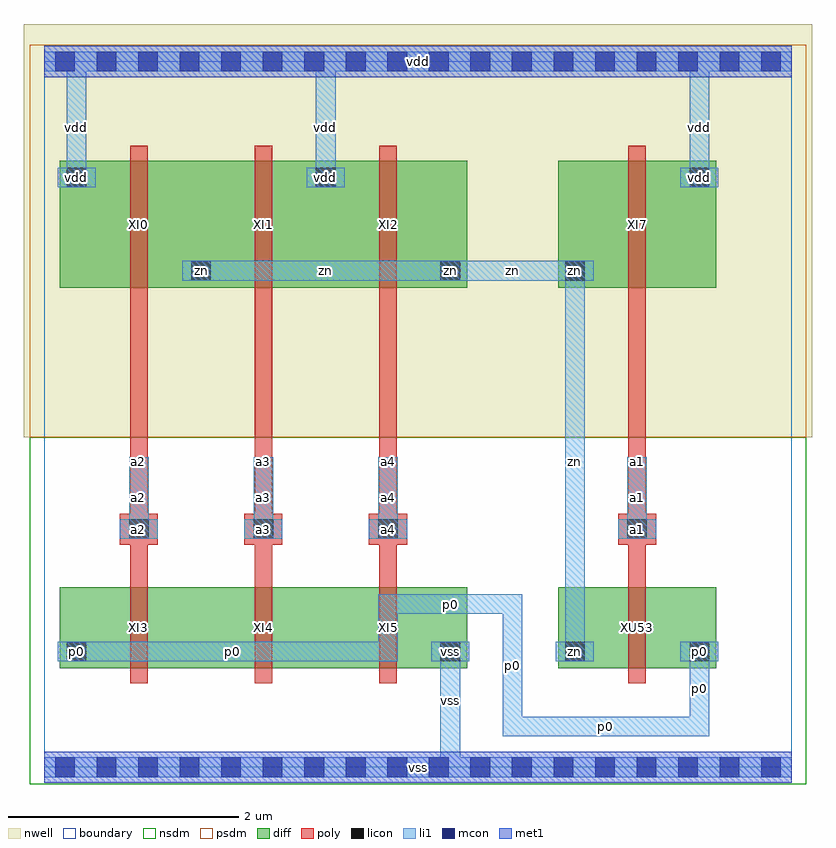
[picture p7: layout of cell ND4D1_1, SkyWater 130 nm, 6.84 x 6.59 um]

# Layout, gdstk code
import gdstk
lib = gdstk.Library(unit=1e-6, precision=1e-09)
def R(c, l, rs):  # rectangles x0, y0, x1, y1
    for r in rs: c.add(gdstk.rectangle(r[:2], r[2:], *l))
def A(c, l, x, y, w, h, nx, ny, dx, dy):  # array of equal rectangles
    R(c, l, [(x+i*dx, y+j*dy, x+i*dx+w, y+j*dy+h) for i in range(nx) for j in range(ny)])
L0_0 = (0, 0)
nwell = (64, 20)
diff = (65, 20)
poly = (66, 20)
licon = (66, 44)
li1 = (67, 20)
mcon = (67, 44)
met1 = (68, 20)
nsdm = (93, 44)
psdm = (94, 20)
boundary = (235, 4)

nd4d1_1 = lib.new_cell('ND4D1_1')
R(nd4d1_1, nwell, [(-0.18,2.86,6.66,6.445)])
A(nd4d1_1, diff, 0.135, 0.86, 1.37, 0.7, 3, 1, 1.08, 0)
A(nd4d1_1, diff, 3.375, 0.86, 0.29, 0.29, 3, 1, 1.08, 0)
A(nd4d1_1, diff, 0.135, 4.16, 1.37, 1.1, 3, 1, 1.08, 0)
R(nd4d1_1, diff, [(0.135,0.86,0.425,1.15), (4.455,0.86,5.825,1.56), (1.215,4.16,1.505,4.45), (3.375,4.16,3.665,4.45), (4.455,4.16,5.825,5.26), (4.455,4.16,4.745,4.45), (0.135,4.97,0.425,5.26), (2.295,4.97,2.585,5.26), (5.535,4.97,5.825,5.26)])
A(nd4d1_1, poly, 0.745, 0.73, 0.15, 0.96, 3, 1, 1.08, 0)
A(nd4d1_1, poly, 0.745, 0.93, 0.15, 3.45, 3, 1, 1.08, 0)
A(nd4d1_1, poly, 0.655, 1.93, 0.33, 0.27, 3, 1, 1.08, 0)
A(nd4d1_1, poly, 0.745, 4.03, 0.15, 1.36, 3, 1, 1.08, 0)
R(nd4d1_1, poly, [(5.065,0.73,5.215,1.69), (5.065,0.93,5.215,4.38), (4.975,1.93,5.305,2.2), (5.065,4.03,5.215,5.39)])
A(nd4d1_1, licon, 3.435, 0.92, 0.17, 0.17, 3, 1, 1.08, 0)
A(nd4d1_1, licon, 0.735, 1.98, 0.17, 0.17, 3, 1, 1.08, 0)
R(nd4d1_1, licon, [(0.195,0.92,0.365,1.09), (5.055,1.98,5.225,2.15), (1.275,4.22,1.445,4.39), (3.435,4.22,3.605,4.39), (4.515,4.22,4.685,4.39), (0.195,5.03,0.365,5.2), (2.355,5.03,2.525,5.2), (5.595,5.03,5.765,5.2)])
A(nd4d1_1, li1, 3.355, 0.92, 0.33, 0.17, 3, 1, 1.08, 0)
A(nd4d1_1, li1, 0.655, 1.98, 0.33, 0.17, 3, 1, 1.08, 0)
A(nd4d1_1, li1, 0.735, 1.98, 0.17, 0.71, 3, 1, 1.08, 0)
R(nd4d1_1, li1, [(0,-0.085,6.48,0.085), (3.435,0.06,3.605,1.09), (3.975,0.27,4.145,1.5), (3.975,0.27,5.765,0.44), (5.595,0.27,5.765,1.09), (0.115,0.92,0.445,1.09), (0.195,0.92,3.065,1.09), (2.895,0.92,3.065,1.5), (4.515,0.92,4.685,4.39), (2.895,1.33,4.145,1.5), (4.975,1.98,5.305,2.15), (5.055,1.98,5.225,2.69), (1.195,4.22,1.525,4.39), (1.275,4.22,3.605,4.39), (3.355,4.22,3.685,4.39), (3.435,4.22,4.685,4.39), (4.435,4.22,4.765,4.39), (0.115,5.03,0.445,5.2), (0.195,5.03,0.365,6.06), (2.275,5.03,2.605,5.2), (2.355,5.03,2.525,6.06), (5.515,5.03,5.845,5.2), (5.595,5.03,5.765,6.06), (0,6.035,6.48,6.205)])
A(nd4d1_1, mcon, 0.095, -0.085, 0.17, 0.17, 18, 2, 0.36, 6.12)
R(nd4d1_1, met1, [(0,-0.135,6.48,0.135), (0,5.985,6.48,6.255)])
R(nd4d1_1, nsdm, [(-0.125,-0.145,6.605,0.145), (-0.125,0.145,6.605,2.86)])
R(nd4d1_1, psdm, [(-0.125,2.86,6.605,5.975), (-0.125,5.975,6.605,6.265)])
R(nd4d1_1, boundary, [(0,0,6.48,6.12)])
nd4d1_1.add(gdstk.FlexPath([(0.115,0.355),(5.845,0.355)], 0, ends="flush", simple_path=True, layer=0, datatype=0))  # L0_0
nd4d1_1.add(gdstk.FlexPath([(0.115,1.005),(5.845,1.005)], 0, ends="flush", simple_path=True, layer=0, datatype=0))  # L0_0
nd4d1_1.add(gdstk.FlexPath([(0.115,1.415),(5.845,1.415)], 0, ends="flush", simple_path=True, layer=0, datatype=0))  # L0_0
nd4d1_1.add(gdstk.FlexPath([(0.115,2.065),(5.845,2.065)], 0, ends="flush", simple_path=True, layer=0, datatype=0))  # L0_0
nd4d1_1.add(gdstk.FlexPath([(0.115,2.605),(5.845,2.605)], 0, ends="flush", simple_path=True, layer=0, datatype=0))  # L0_0
nd4d1_1.add(gdstk.FlexPath([(0.115,3.145),(5.845,3.145)], 0, ends="flush", simple_path=True, layer=0, datatype=0))  # L0_0
nd4d1_1.add(gdstk.FlexPath([(0.115,4.305),(5.845,4.305)], 0, ends="flush", simple_path=True, layer=0, datatype=0))  # L0_0
nd4d1_1.add(gdstk.FlexPath([(0.115,4.775),(5.845,4.775)], 0, ends="flush", simple_path=True, layer=0, datatype=0))  # L0_0
nd4d1_1.add(gdstk.FlexPath([(0.115,5.115),(5.845,5.115)], 0, ends="flush", simple_path=True, layer=0, datatype=0))  # L0_0
nd4d1_1.add(gdstk.FlexPath([(0.115,5.765),(5.845,5.765)], 0, ends="flush", simple_path=True, layer=0, datatype=0))  # L0_0
nd4d1_1.add(gdstk.FlexPath([(0.28,0.06),(0.28,6.06)], 0, ends="flush", simple_path=True, layer=0, datatype=0))  # L0_0
nd4d1_1.add(gdstk.FlexPath([(0.82,0.06),(0.82,6.06)], 0, ends="flush", simple_path=True, layer=0, datatype=0))  # L0_0
nd4d1_1.add(gdstk.FlexPath([(1.36,0.06),(1.36,6.06)], 0, ends="flush", simple_path=True, layer=0, datatype=0))  # L0_0
nd4d1_1.add(gdstk.FlexPath([(1.9,0.06),(1.9,6.06)], 0, ends="flush", simple_path=True, layer=0, datatype=0))  # L0_0
nd4d1_1.add(gdstk.FlexPath([(2.44,0.06),(2.44,6.06)], 0, ends="flush", simple_path=True, layer=0, datatype=0))  # L0_0
nd4d1_1.add(gdstk.FlexPath([(2.98,0.06),(2.98,6.06)], 0, ends="flush", simple_path=True, layer=0, datatype=0))  # L0_0
nd4d1_1.add(gdstk.FlexPath([(3.52,0.06),(3.52,6.06)], 0, ends="flush", simple_path=True, layer=0, datatype=0))  # L0_0
nd4d1_1.add(gdstk.FlexPath([(4.06,0.06),(4.06,6.06)], 0, ends="flush", simple_path=True, layer=0, datatype=0))  # L0_0
nd4d1_1.add(gdstk.FlexPath([(4.6,0.06),(4.6,6.06)], 0, ends="flush", simple_path=True, layer=0, datatype=0))  # L0_0
nd4d1_1.add(gdstk.FlexPath([(5.14,0.06),(5.14,6.06)], 0, ends="flush", simple_path=True, layer=0, datatype=0))  # L0_0
nd4d1_1.add(gdstk.FlexPath([(5.68,0.06),(5.68,6.06)], 0, ends="flush", simple_path=True, layer=0, datatype=0))  # L0_0
nd4d1_1.add(gdstk.Label('XI3', (0.82,1.21), layer=65, texttype=20))
nd4d1_1.add(gdstk.Label('XI5', (2.98,1.21), layer=65, texttype=20))
nd4d1_1.add(gdstk.Label('XI4', (1.9,1.21), layer=65, texttype=20))
nd4d1_1.add(gdstk.Label('XU53', (5.14,1.21), layer=65, texttype=20))
nd4d1_1.add(gdstk.Label('XI7', (5.14,4.71), layer=65, texttype=20))
nd4d1_1.add(gdstk.Label('XI2', (2.98,4.71), layer=65, texttype=20))
nd4d1_1.add(gdstk.Label('XI1', (1.9,4.71), layer=65, texttype=20))
nd4d1_1.add(gdstk.Label('XI0', (0.82,4.71), layer=65, texttype=20))
nd4d1_1.add(gdstk.Label('p0', (0.28,1.005), layer=65, texttype=20))
nd4d1_1.add(gdstk.Label('p0', (5.68,1.005), layer=65, texttype=20))
nd4d1_1.add(gdstk.Label('zn', (4.6,1.005), layer=65, texttype=20))
nd4d1_1.add(gdstk.Label('zn', (4.6,4.305), layer=65, texttype=20))
nd4d1_1.add(gdstk.Label('zn', (3.52,4.305), layer=65, texttype=20))
nd4d1_1.add(gdstk.Label('zn', (1.36,4.305), layer=65, texttype=20))
nd4d1_1.add(gdstk.Label('vss', (3.52,1.005), layer=65, texttype=20))
nd4d1_1.add(gdstk.Label('vdd', (5.68,5.115), layer=65, texttype=20))
nd4d1_1.add(gdstk.Label('vdd', (2.44,5.115), layer=65, texttype=20))
nd4d1_1.add(gdstk.Label('vdd', (0.28,5.115), layer=65, texttype=20))
nd4d1_1.add(gdstk.Label('a2', (0.82,2.655), layer=66, texttype=20))
nd4d1_1.add(gdstk.Label('a2', (0.82,2.065), layer=66, texttype=20))
nd4d1_1.add(gdstk.Label('a4', (2.98,2.655), layer=66, texttype=20))
nd4d1_1.add(gdstk.Label('a4', (2.98,2.065), layer=66, texttype=20))
nd4d1_1.add(gdstk.Label('a3', (1.9,2.655), layer=66, texttype=20))
nd4d1_1.add(gdstk.Label('a3', (1.9,2.065), layer=66, texttype=20))
nd4d1_1.add(gdstk.Label('a1', (5.14,2.655), layer=66, texttype=20))
nd4d1_1.add(gdstk.Label('a1', (5.14,2.065), layer=66, texttype=20))
nd4d1_1.add(gdstk.Label('p0', (0.28,1.005), layer=66, texttype=44))
nd4d1_1.add(gdstk.Label('p0', (5.68,1.005), layer=66, texttype=44))
nd4d1_1.add(gdstk.Label('a2', (0.82,2.065), layer=66, texttype=44))
nd4d1_1.add(gdstk.Label('a4', (2.98,2.065), layer=66, texttype=44))
nd4d1_1.add(gdstk.Label('a3', (1.9,2.065), layer=66, texttype=44))
nd4d1_1.add(gdstk.Label('zn', (4.6,1.005), layer=66, texttype=44))
nd4d1_1.add(gdstk.Label('zn', (4.6,4.305), layer=66, texttype=44))
nd4d1_1.add(gdstk.Label('zn', (3.52,4.305), layer=66, texttype=44))
nd4d1_1.add(gdstk.Label('zn', (1.36,4.305), layer=66, texttype=44))
nd4d1_1.add(gdstk.Label('a1', (5.14,2.065), layer=66, texttype=44))
nd4d1_1.add(gdstk.Label('vss', (3.52,1.005), layer=66, texttype=44))
nd4d1_1.add(gdstk.Label('vdd', (5.68,5.115), layer=66, texttype=44))
nd4d1_1.add(gdstk.Label('vdd', (2.44,5.115), layer=66, texttype=44))
nd4d1_1.add(gdstk.Label('vdd', (0.28,5.115), layer=66, texttype=44))
nd4d1_1.add(gdstk.Label('p0', (0.28,1.005), layer=67, texttype=20))
nd4d1_1.add(gdstk.Label('p0', (5.68,1.005), layer=67, texttype=20))
nd4d1_1.add(gdstk.Label('p0', (1.63,1.005), layer=67, texttype=20))
nd4d1_1.add(gdstk.Label('p0', (2.98,1.21), layer=67, texttype=20))
nd4d1_1.add(gdstk.Label('p0', (3.52,1.415), layer=67, texttype=20))
nd4d1_1.add(gdstk.Label('p0', (4.06,0.885), layer=67, texttype=20))
nd4d1_1.add(gdstk.Label('p0', (4.87,0.355), layer=67, texttype=20))
nd4d1_1.add(gdstk.Label('p0', (5.68,0.68), layer=67, texttype=20))
nd4d1_1.add(gdstk.Label('a2', (0.82,2.065), layer=67, texttype=16))
nd4d1_1.add(gdstk.Label('a2', (0.82,2.335), layer=67, texttype=16))
nd4d1_1.add(gdstk.Label('a4', (2.98,2.065), layer=67, texttype=16))
nd4d1_1.add(gdstk.Label('a4', (2.98,2.335), layer=67, texttype=16))
nd4d1_1.add(gdstk.Label('a3', (1.9,2.065), layer=67, texttype=16))
nd4d1_1.add(gdstk.Label('a3', (1.9,2.335), layer=67, texttype=16))
nd4d1_1.add(gdstk.Label('zn', (4.6,1.005), layer=67, texttype=16))
nd4d1_1.add(gdstk.Label('zn', (4.6,4.305), layer=67, texttype=16))
nd4d1_1.add(gdstk.Label('zn', (3.52,4.305), layer=67, texttype=16))
nd4d1_1.add(gdstk.Label('zn', (1.36,4.305), layer=67, texttype=16))
nd4d1_1.add(gdstk.Label('zn', (4.6,2.655), layer=67, texttype=16))
nd4d1_1.add(gdstk.Label('zn', (4.06,4.305), layer=67, texttype=16))
nd4d1_1.add(gdstk.Label('zn', (2.44,4.305), layer=67, texttype=16))
nd4d1_1.add(gdstk.Label('a1', (5.14,2.065), layer=67, texttype=16))
nd4d1_1.add(gdstk.Label('a1', (5.14,2.335), layer=67, texttype=16))
nd4d1_1.add(gdstk.Label('vss', (3.52,1.005), layer=67, texttype=20))
nd4d1_1.add(gdstk.Label('vss', (3.52,0.575), layer=67, texttype=20))
nd4d1_1.add(gdstk.Label('vdd', (5.68,5.115), layer=67, texttype=20))
nd4d1_1.add(gdstk.Label('vdd', (5.68,5.545), layer=67, texttype=20))
nd4d1_1.add(gdstk.Label('vdd', (2.44,5.115), layer=67, texttype=20))
nd4d1_1.add(gdstk.Label('vdd', (2.44,5.545), layer=67, texttype=20))
nd4d1_1.add(gdstk.Label('vdd', (0.28,5.115), layer=67, texttype=20))
nd4d1_1.add(gdstk.Label('vdd', (0.28,5.545), layer=67, texttype=20))
nd4d1_1.add(gdstk.Label('vss', (3.24,0), layer=67, texttype=16))
nd4d1_1.add(gdstk.Label('vdd', (3.24,6.12), layer=67, texttype=16))
nd4d1_1.add(gdstk.Label('vss', (3.24,0), layer=68, texttype=16))
nd4d1_1.add(gdstk.Label('vdd', (3.24,6.12), layer=68, texttype=16))

lib.write_gds('ND4D1_1.gds')
